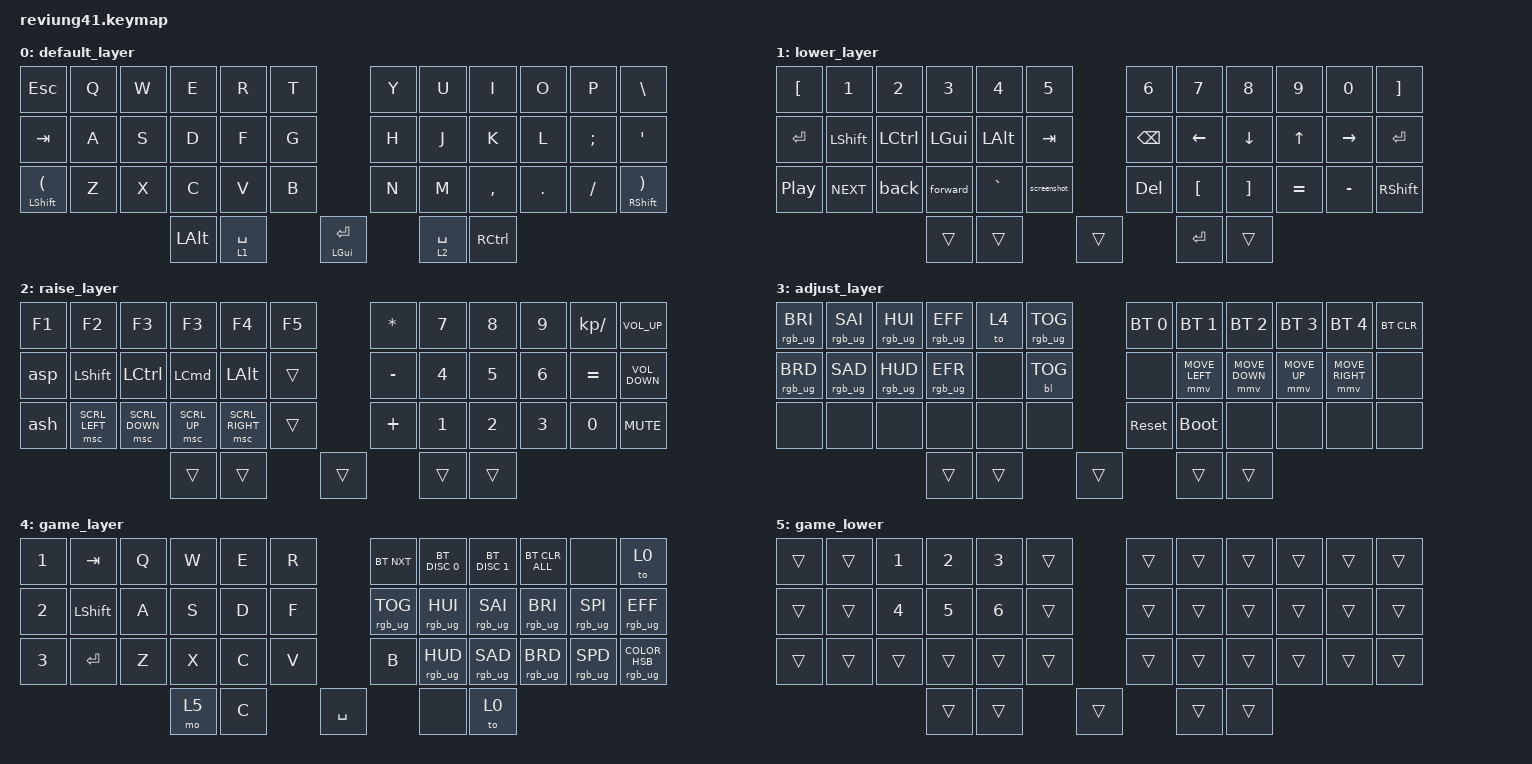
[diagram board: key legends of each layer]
/* pre-double space
 * Copyright (c) 2020 The ZMK Contributors
 *
 * SPDX-License-Identifier: MIT
 */

#include <behaviors.dtsi>
#include <dt-bindings/zmk/backlight.h>
#include <dt-bindings/zmk/bt.h>
#include <dt-bindings/zmk/keys.h>
#include <dt-bindings/zmk/pointing.h>
#include <dt-bindings/zmk/rgb.h>

&mt {
    tapping-term-ms = <100>;
    flavor = "tap-preferred";
};

&led_strip { chain-length = <11>; };

/ {
    combos {
        compatible = "zmk,combos";

        combo_prntscrn {
            bindings = <&kp PRINTSCREEN>;
            key-positions = <25 26 27>;
        };

        caps_toggle {
            bindings = <&kt CAPSLOCK>;
            key-positions = <11 10>;
        };

        gui {
            bindings = <&kp LEFT_GUI>;
            key-positions = <36 37>;
        };

        layer3 {
            bindings = <&tog 4>;
            key-positions = <37 39>;
        };
    };

    macros {
        screenshot: screenshot {
            compatible = "zmk,behavior-macro";
            #binding-cells = <0>;
            bindings = <&kt LEFT_GUI &kt LEFT_SHIFT &kp NUMBER_4 &kt LEFT_SHIFT &kt LEFT_COMMAND>;
            label = "SCREENSHOT";
        };

        new_macro: new_macro {
            compatible = "zmk,behavior-macro";
            #binding-cells = <0>;
            bindings = <&kt LEFT_GUI &kt LEFT_SHIFT &kp NUMBER_4 &kt LEFT_SHIFT &kt LEFT_COMMAND>;
            label = "NEW_MACRO";
        };

        back: back {
            compatible = "zmk,behavior-macro";
            #binding-cells = <0>;
            bindings = <&kt LEFT_GUI &kp LEFT_BRACKET &kt LEFT_GUI>;
            label = "BACK";
        };

        forward: forward {
            compatible = "zmk,behavior-macro";
            #binding-cells = <0>;
            bindings = <&kt LEFT_GUI &kp RIGHT_BRACKET &kt LEFT_GUI>;
            label = "FORWARD";
        };

        asp: asp {
            compatible = "zmk,behavior-macro";
            #binding-cells = <0>;
            bindings = <&kt LEFT_GUI &kp SPACE &kt LEFT_GUI &kp A &kp S &kp P &kp RET>;
            label = "asp";
        };

        ash: ash {
            compatible = "zmk,behavior-macro";
            #binding-cells = <0>;
            bindings = <&kt LEFT_GUI &kp SPACE &kt LEFT_GUI &kp A &kp S &kp H &kp RET>;
            label = "ASH";
        };
    };

    keymap {
        compatible = "zmk,keymap";

        default_layer {
            // -------------------------------------------------------------------------------------
            // |  TAB |  Q  |  W  |  E  |  R  |  T  |   |  Y  |  U   |  I  |  O  |  P  |   BKSP    |
            // | CTRL |  A  |  S  |  D  |  F  |  G  |   |  H  |  J   |  K  |  L  |  ;  |    '      |
            // | SHFT |  Z  |  X  |  C  |  V  |  B  |   |  N  |  M   |  ,  |  .  |  /  | SHFT(RET) |
            //                         | ALT | LWR | SPC | RSE  | ALT |

            bindings = <
&kp ESCAPE                       &kp Q  &kp W  &kp E         &kp R        &kp T                      &kp Y  &kp U        &kp I              &kp O    &kp P     &kp BACKSLASH
&kp TAB                          &kp A  &kp S  &kp D         &kp F        &kp G                      &kp H  &kp J        &kp K              &kp L    &kp SEMI  &kp SQT
&mt LEFT_SHIFT LEFT_PARENTHESIS  &kp Z  &kp X  &kp C         &kp V        &kp B                      &kp N  &kp M        &kp COMMA          &kp DOT  &kp FSLH  &mt RSHFT RIGHT_PARENTHESIS
                                               &kp LEFT_ALT  &lt 1 SPACE         &mt LEFT_GUI ENTER         &lt 2 SPACE  &kp RIGHT_CONTROL
            >;
        };

        lower_layer {
            // ------------------------------------------------------------------------------------
            // |    |  !  |  @  |  #  |  $  |  %  |   |  ^  |  &  |  *  |  (  |  )  |      DEL    |
            // |    |  _  |  +  |  {  |  }  | "|" |   | LFT | DWN |  UP | RGT |  `  |       ~     |
            // |    | ESC | GUI | ALT | CAPS|  "  |   | HOME| END | PGUP| PGDN| PRSC| SHFT(SPACE) |
            //                       |     |     | RET | ADJ |     |

            bindings = <
&kp LEFT_BRACKET  &kp NUMBER_1    &kp NUMBER_2      &kp NUMBER_3  &kp NUMBER_4  &kp NUMBER_5          &kp NUMBER_6   &kp NUMBER_7      &kp NUMBER_8       &kp NUMBER_9  &kp NUMBER_0  &kp RIGHT_BRACKET
&kp ENTER         &kp LEFT_SHIFT  &kp LEFT_CONTROL  &kp LEFT_GUI  &kp LEFT_ALT  &kp TAB               &kp BACKSPACE  &kp LEFT_ARROW    &kp DOWN_ARROW     &kp UP_ARROW  &kp RIGHT     &kp ENTER
&kp C_PLAY_PAUSE  &kp C_NEXT      &back             &forward      &kp GRAVE     &screenshot           &kp DELETE     &kp LEFT_BRACKET  &kp RIGHT_BRACKET  &kp EQUAL     &kp MINUS     &kp RIGHT_SHIFT
                                                    &trans        &trans                      &trans                 &kp ENTER         &trans
            >;
        };

        raise_layer {
            bindings = <
&kp F1  &kp F2          &kp F3            &kp F3            &kp F4           &kp F5          &kp ASTRK  &kp N7  &kp N8  &kp N9  &kp KP_DIVIDE  &kp C_VOL_UP
&asp    &kp LEFT_SHIFT  &kp LEFT_CONTROL  &kp LEFT_COMMAND  &kp LEFT_ALT     &trans          &kp MINUS  &kp N4  &kp N5  &kp N6  &kp EQUAL      &kp C_VOLUME_DOWN
&ash    &msc SCRL_LEFT  &msc SCRL_DOWN    &msc SCRL_UP      &msc SCRL_RIGHT  &trans          &kp PLUS   &kp N1  &kp N2  &kp N3  &kp N0         &kp K_MUTE
                                          &trans            &trans                   &trans             &trans  &trans
            >;
        };

        adjust_layer {
            // -----------------------------------------------------------------------------------------
            // | RGB BRI+ | RGB SAT+ | RGB HUE+ | RGB ANI+ |    | RGB TOG |   |  BT1  | BT2 | BT3 | BT4 | BT5 | BT CLR |
            // | RGB BRI- | RGB SAT- | RGB HUE- | RGB ANI- |    |         |   |       |     |     |     |     |        |
            // |          |          |          |          |    |         |   | RESET |     |     |     |     |        |
            //                                              |     |     |     |     |     |

            bindings = <
&rgb_ug RGB_BRI  &rgb_ug RGB_SAI  &rgb_ug RGB_HUI  &rgb_ug RGB_EFF  &to 4   &rgb_ug RGB_TOG          &bt BT_SEL 0  &bt BT_SEL 1    &bt BT_SEL 2    &bt BT_SEL 3  &bt BT_SEL 4     &bt BT_CLR
&rgb_ug RGB_BRD  &rgb_ug RGB_SAD  &rgb_ug RGB_HUD  &rgb_ug RGB_EFR  &none   &bl BL_TOG               &none         &mmv MOVE_LEFT  &mmv MOVE_DOWN  &mmv MOVE_UP  &mmv MOVE_RIGHT  &none
&none            &none            &none            &none            &none   &none                    &sys_reset    &bootloader     &none           &none         &none            &none
                                                   &trans           &trans                   &trans                &trans          &trans
            >;
        };

        game_layer {
            bindings = <
&kp N1  &kp TAB    &kp Q  &kp W  &kp E  &kp R             &bt BT_NXT       &bt BT_DISC 0    &bt BT_DISC 1    &bt BT_CLR_ALL   &none            &to 0
&kp N2  &kp LSHFT  &kp A  &kp S  &kp D  &kp F             &rgb_ug RGB_TOG  &rgb_ug RGB_HUI  &rgb_ug RGB_SAI  &rgb_ug RGB_BRI  &rgb_ug RGB_SPI  &rgb_ug RGB_EFF
&kp N3  &kp ENTER  &kp Z  &kp X  &kp C  &kp V             &kp B            &rgb_ug RGB_HUD  &rgb_ug RGB_SAD  &rgb_ug RGB_BRD  &rgb_ug RGB_SPD  &rgb_ug RGB_COLOR_HSB(0,0,100)
                          &mo 5  &kp C         &kp SPACE                   &none            &to 0
            >;
        };

        game_lower {
            bindings = <
&trans  &trans  &kp N1  &kp N2  &kp N3  &trans          &trans  &trans  &trans  &trans  &trans  &trans
&trans  &trans  &kp N4  &kp N5  &kp N6  &trans          &trans  &trans  &trans  &trans  &trans  &trans
&trans  &trans  &trans  &trans  &trans  &trans          &trans  &trans  &trans  &trans  &trans  &trans
                        &trans  &trans          &trans          &trans  &trans
            >;
        };
    };

    conditional_layers {
        compatible = "zmk,conditional-layers";

        adgust {
            if-layers = <1 2>;
            then-layer = <3>;
        };
    };
};
